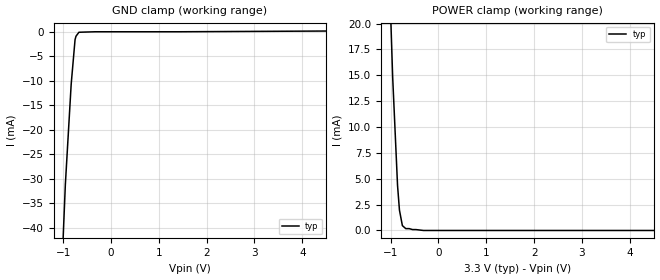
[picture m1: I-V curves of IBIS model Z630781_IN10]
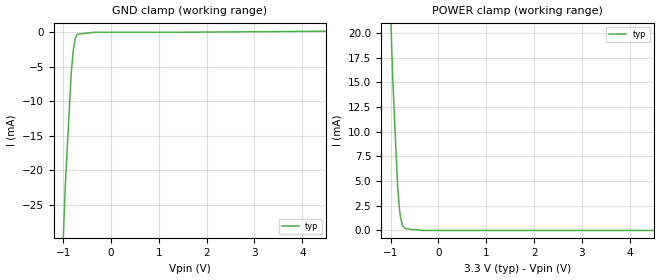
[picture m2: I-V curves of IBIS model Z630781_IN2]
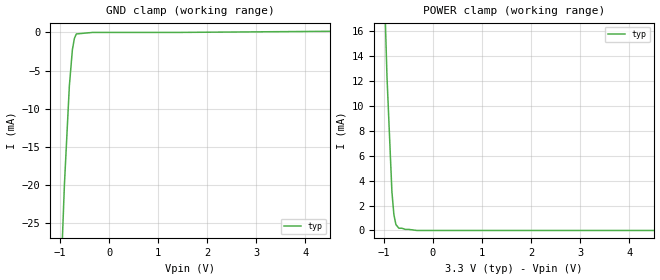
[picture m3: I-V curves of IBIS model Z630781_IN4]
[IBIS Ver] 3.1
[File Name] mc100ep139dt_33.ibs
[File Rev] 3.0
[Source] Measured and created by ICX Technology
[Date] 12/5/2002
[Copyright]
| (C) COPYRIGHT 1993-2000
| MENTOR GRAPHICS CORPORATION
| ICX STANDARD LIBRARY, ICX PROJECT MODELING,
| ICX CUSTOM MODELING, ICX VENDOR MODEL
| ALL RIGHTS RESERVED.
| THE FOLLOWING ARE TRADEMARKS OR SERVICE MARKS OF
| MENTOR GRAPHICS CORPORATION:ICX (R), ICX STANDARD
| LIBRARY(R), ICX PROJECT MODELING(R), ICX CUSTOM
| MODELING(R), qualityIBIS(TM), MODELVIEWER(TM),
| AND MODELEDITOR(TM)
| ALL COPIES OF SOFTWARE, INCLUDING BUT NOT LIMITED TO
| ANY MODIFICATIONS, ENHANCEMENTS OR DERIVATIVE WORKS,
| MUST CONTAIN ALL MENTOR GRAPHICS CORPORATION'S
| NOTICES AND LEGENDS, INCLUDING THOSE EMBEDDED IN
| SOFTWARE AND THOSE AFFIXED TO SOFTWARE MEDIUM
| AND CONTAINER, AS RECEIVED FROM MENTOR GRAPHICS
| CORPORATION.
|  ZAP Model Builder 2.8
[Component] MC100EP139DT_33
[Manufacturer] ON
[Package]
| variable   typ   min   max
R_pkg  .18ohms NA NA
L_pkg  4.22nH NA NA
C_pkg  .41pF NA NA
[Pin] signal_name  model_name  R_pin  L_pin C_pin
1 VCC POWER .194 5.16n .43p
2 _EN Z630781_IN2 .185 4.57n .42p
3 DIV_SELB0 Z630781_IN10 .177 3.98n .42p
4 CLK Z630781_IN4 .174 3.79n .41p
5 _CLK Z630781_IN4 .171 3.6n .37p
6 VBB POWER .171 3.6n .37p
7 MR Z630781_IN7 .174 3.79n .41p
8 VCC POWER .177 3.98n .42p
9 DIV_SELB1 Z630781_IN10 .185 4.57n .42p
10 DIV_SELA Z630781_IN10 .194 5.16n .43p
11 VEE POWER .194 5.16n .43p
12 _Q3 Z630781_OUT13 .185 4.57n .42p
13 Q3 Z630781_OUT13 .177 3.98n .42p
14 _Q2 Z630781_OUT13 .174 3.79n .41p
15 Q2 Z630781_OUT13 .171 3.6n .37p
16 _Q1 Z630781_OUT17 .171 3.6n .37p
17 Q1 Z630781_OUT17 .174 3.79n .41p
18 _Q0 Z630781_OUT17 .177 3.98n .42p
19 Q0 Z630781_OUT17 .185 4.57n .42p
20 VCC POWER .194 5.16n .43p
[Diff Pin] inv_pin vdiff tdelay_typ tdelay_min tdelay_max
4 5 800mv NA NA NA
13 12 NA .05ns NA NA
15 14 NA .05ns NA NA
17 16 NA .05ns NA NA
19 18 NA .05ns NA NA
| Models and submodels in the file (6): Z630781_IN10 (Input_ECL), Z630781_IN2 (Input_ECL), Z630781_IN4 (Input_ECL), Z630781_IN7 (Input_ECL), Z630781_OUT13 (Output_ECL), Z630781_OUT17 (Output_ECL)
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| (C) COPYRIGHT 1993-2000
| MENTOR GRAPHICS CORPORATION
| ICX STANDARD LIBRARY, ICX PROJECT MODELING,
| ICX CUSTOM MODELING, ICX VENDOR MODEL
| ALL RIGHTS RESERVED.
| THE FOLLOWING ARE TRADEMARKS OR SERVICE MARKS OF
| MENTOR GRAPHICS CORPORATION:ICX (R), ICX STANDARD
| LIBRARY(R), ICX PROJECT MODELING(R), ICX CUSTOM
| MODELING(R), qualityIBIS(TM), MODELVIEWER(TM),
| AND MODELEDITOR(TM)
| ALL COPIES OF SOFTWARE, INCLUDING BUT NOT LIMITED TO
| ANY MODIFICATIONS, ENHANCEMENTS OR DERIVATIVE WORKS,
| MUST CONTAIN ALL MENTOR GRAPHICS CORPORATION'S
| NOTICES AND LEGENDS, INCLUDING THOSE EMBEDDED IN
| SOFTWARE AND THOSE AFFIXED TO SOFTWARE MEDIUM
| AND CONTAINER, AS RECEIVED FROM MENTOR GRAPHICS
| CORPORATION.
| Model Application Version 1.89 2/18/99.
[Model] Z630781_IN10
Model_type Input_ECL
Vinl = 1.657V
Vinh = 2.277V
C_comp 1.000pF NA NA
| variable typ   min   max
[Voltage Range] 3.300V NA NA
[GND Clamp Reference] 0.000V NA NA
[POWER Clamp Reference] 3.300V NA NA
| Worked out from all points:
|   GND clamp passes 1 mA (typ) near -0.73 V on its own axis
|   POWER clamp passes 1 mA (typ) near -0.78 V on its own axis
[GND Clamp]
-3.3V     -691.5mA   NA         NA
-1.074V   -59.8mA    NA         NA
-953mV    -31.2mA    NA         NA
-831mV    -10.7mA    NA         NA
-750mV    -1.6mA     NA         NA
-730mV    -900uA     NA         NA
-669mV    -100uA     NA         NA
-334.5mV  0A         NA         NA
1.429V    0A         NA         NA
6.6V      251.4uA    NA         NA
[POWER Clamp]
-3.3V     412.8mA    NA         NA
-1.058V   29.26mA    NA         NA
-957mV    14.86mA    NA         NA
-855mV    4.367mA    NA         NA
-815mV    1.969mA    NA         NA
-754mV    472.4uA    NA         NA
-683mV    179.3uA    NA         NA
-612mV    179.3uA    NA         NA
-541mV    86.19uA    NA         NA
-470mV    86.19uA    NA         NA
-313.3mV  0A         NA         NA
6.6V      0A         NA         NA
| (C) COPYRIGHT 1993-2000
| MENTOR GRAPHICS CORPORATION
| ICX STANDARD LIBRARY, ICX PROJECT MODELING,
| ICX CUSTOM MODELING, ICX VENDOR MODEL
| ALL RIGHTS RESERVED.
| THE FOLLOWING ARE TRADEMARKS OR SERVICE MARKS OF
| MENTOR GRAPHICS CORPORATION:ICX (R), ICX STANDARD
| LIBRARY(R), ICX PROJECT MODELING(R), ICX CUSTOM
| MODELING(R), qualityIBIS(TM), MODELVIEWER(TM),
| AND MODELEDITOR(TM)
| ALL COPIES OF SOFTWARE, INCLUDING BUT NOT LIMITED TO
| ANY MODIFICATIONS, ENHANCEMENTS OR DERIVATIVE WORKS,
| MUST CONTAIN ALL MENTOR GRAPHICS CORPORATION'S
| NOTICES AND LEGENDS, INCLUDING THOSE EMBEDDED IN
| SOFTWARE AND THOSE AFFIXED TO SOFTWARE MEDIUM
| AND CONTAINER, AS RECEIVED FROM MENTOR GRAPHICS
| CORPORATION.
| Model Application Version 1.89 2/18/99.
[Model] Z630781_IN2
Model_type Input_ECL
Vinl = 1.657V
Vinh = 2.277V
C_comp 1.000pF NA NA
| variable typ   min   max
[Voltage Range] 3.300V NA NA
[GND Clamp Reference] 0.000V NA NA
[POWER Clamp Reference] 3.300V NA NA
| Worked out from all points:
|   GND clamp passes 1 mA (typ) near -0.75 V on its own axis
|   POWER clamp passes 1 mA (typ) near -0.78 V on its own axis
[GND Clamp]
-3.3V     -520.5mA   NA         NA
-1.074V   -43.9mA    NA         NA
-953mV    -22.1mA    NA         NA
-831mV    -6mA       NA         NA
-790mV    -2.8mA     NA         NA
-750mV    -1mA       NA         NA
-709mV    -300uA     NA         NA
-354.5mV  0A         NA         NA
1.409V    0A         NA         NA
6.6V      252.3uA    NA         NA
[POWER Clamp]
-3.3V     447.2mA    NA         NA
-1.099V   37.65mA    NA         NA
-957mV    15.56mA    NA         NA
-855mV    4.667mA    NA         NA
-815mV    2.168mA    NA         NA
-795mV    1.369mA    NA         NA
-754mV    571.4uA    NA         NA
-734mV    372.4uA    NA         NA
-683mV    177.4uA    NA         NA
-326.7mV  0A         NA         NA
6.6V      0A         NA         NA
| (C) COPYRIGHT 1993-2000
| MENTOR GRAPHICS CORPORATION
| ICX STANDARD LIBRARY, ICX PROJECT MODELING,
| ICX CUSTOM MODELING, ICX VENDOR MODEL
| ALL RIGHTS RESERVED.
| THE FOLLOWING ARE TRADEMARKS OR SERVICE MARKS OF
| MENTOR GRAPHICS CORPORATION:ICX (R), ICX STANDARD
| LIBRARY(R), ICX PROJECT MODELING(R), ICX CUSTOM
| MODELING(R), qualityIBIS(TM), MODELVIEWER(TM),
| AND MODELEDITOR(TM)
| ALL COPIES OF SOFTWARE, INCLUDING BUT NOT LIMITED TO
| ANY MODIFICATIONS, ENHANCEMENTS OR DERIVATIVE WORKS,
| MUST CONTAIN ALL MENTOR GRAPHICS CORPORATION'S
| NOTICES AND LEGENDS, INCLUDING THOSE EMBEDDED IN
| SOFTWARE AND THOSE AFFIXED TO SOFTWARE MEDIUM
| AND CONTAINER, AS RECEIVED FROM MENTOR GRAPHICS
| CORPORATION.
| Model Application Version 1.89 2/18/99.
[Model] Z630781_IN4
Model_type Input_ECL
Vinl = 1.657V
Vinh = 2.277V
C_comp 1.000pF NA NA
| variable typ   min   max
[Voltage Range] 3.300V NA NA
[GND Clamp Reference] 0.000V NA NA
[POWER Clamp Reference] 3.300V NA NA
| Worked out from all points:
|   GND clamp passes 1 mA (typ) near -0.71 V on its own axis
|   POWER clamp passes 1 mA (typ) near -0.78 V on its own axis
[GND Clamp]
-3.3V     -513mA     NA         NA
-1.054V   -44.4mA    NA         NA
-912mV    -20mA      NA         NA
-811mV    -7mA       NA         NA
-750mV    -2.3mA     NA         NA
-709mV    -800uA     NA         NA
-669mV    -200uA     NA         NA
-334.5mV  0A         NA         NA
1.449V    0A         NA         NA
6.6V      250.3uA    NA         NA
[POWER Clamp]
-3.3V     400.2mA    NA         NA
-1.038V   26.06mA    NA         NA
-936mV    12.36mA    NA         NA
-835mV    3.069mA    NA         NA
-795mV    1.271mA    NA         NA
-754mV    473.4uA    NA         NA
-693mV    179.3uA    NA         NA
-632mV    179.3uA    NA         NA
-561mV    86.25uA    NA         NA
-490mV    86.25uA    NA         NA
-326.7mV  0A         NA         NA
6.6V      0A         NA         NA
